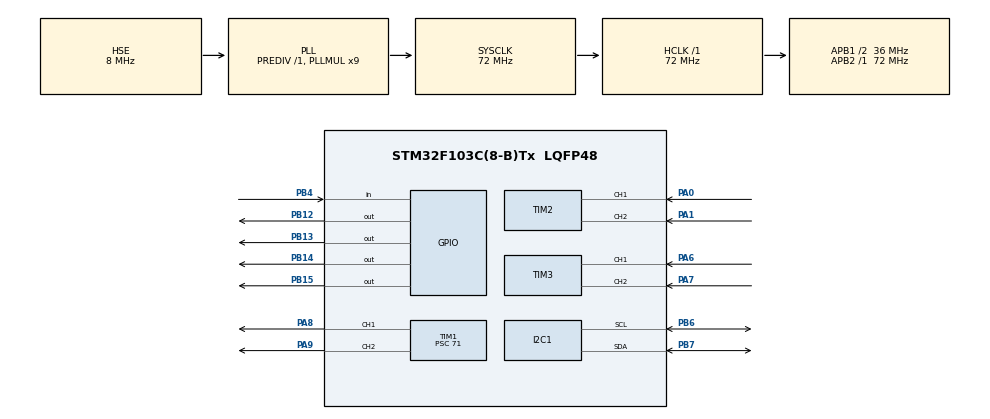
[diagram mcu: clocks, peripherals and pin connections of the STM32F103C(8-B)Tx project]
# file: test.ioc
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Mcu.Family=STM32F1
Mcu.Name=STM32F103C(8-B)Tx
Mcu.Package=LQFP48
NVIC.PriorityGroup=NVIC_PRIORITYGROUP_4
PA0-WKUP.GPIO_PuPd=GPIO_PULLUP
PA0-WKUP.Signal=S_TIM2_CH1_ETR
PA1.GPIO_PuPd=GPIO_PULLUP
PA1.Signal=S_TIM2_CH2
PA13.Mode=Serial_Wire
PA13.Signal=SYS_JTMS-SWDIO
PA14.Mode=Serial_Wire
PA14.Signal=SYS_JTCK-SWCLK
PA6.GPIO_PuPd=GPIO_PULLUP
PA6.Signal=S_TIM3_CH1
PA7.GPIO_PuPd=GPIO_PULLUP
PA7.Signal=S_TIM3_CH2
PA8.Signal=S_TIM1_CH1
PA9.Signal=S_TIM1_CH2
PB12.Signal=GPIO_Output
PB13.Signal=GPIO_Output
PB14.Signal=GPIO_Output
PB15.Signal=GPIO_Output
PB4.GPIO_PuPd=GPIO_PULLDOWN
PB4.Signal=GPIO_Input
PB6.Mode=I2C
PB6.Signal=I2C1_SCL
PB7.Mode=I2C
PB7.Signal=I2C1_SDA
PD0-OSC_IN.Mode=HSE-External-Oscillator
PD0-OSC_IN.Signal=RCC_OSC_IN
PD1-OSC_OUT.Mode=HSE-External-Oscillator
PD1-OSC_OUT.Signal=RCC_OSC_OUT
ProjectManager.HeapSize=0x200
ProjectManager.StackSize=0x400
ProjectManager.TargetToolchain=MDK-ARM V5.32
RCC.AHBFreq_Value=72000000
RCC.APB1CLKDivider=RCC_HCLK_DIV2
RCC.APB1Freq_Value=36000000
RCC.APB1TimFreq_Value=72000000
RCC.APB2Freq_Value=72000000
RCC.APB2TimFreq_Value=72000000
RCC.HCLKFreq_Value=72000000
RCC.PLLMUL=RCC_PLL_MUL9
RCC.PLLSourceVirtual=RCC_PLLSOURCE_HSE
RCC.SYSCLKFreq_VALUE=72000000
RCC.SYSCLKSource=RCC_SYSCLKSOURCE_PLLCLK
RCC.USBFreq_Value=72000000
SH.S_TIM1_CH1.0=TIM1_CH1,PWM Generation1 CH1
SH.S_TIM1_CH2.0=TIM1_CH2,PWM Generation2 CH2
SH.S_TIM2_CH1_ETR.0=TIM2_CH1,Encoder_Interface
SH.S_TIM2_CH2.0=TIM2_CH2,Encoder_Interface
SH.S_TIM3_CH1.0=TIM3_CH1,Encoder_Interface
SH.S_TIM3_CH2.0=TIM3_CH2,Encoder_Interface
TIM1.Channel-PWM\ Generation1\ CH1=TIM_CHANNEL_1
TIM1.Channel-PWM\ Generation2\ CH2=TIM_CHANNEL_2
TIM1.Period=9999
TIM1.Prescaler=71
TIM1.Pulse-PWM\ Generation1\ CH1=1999
TIM2.EncoderMode=TIM_ENCODERMODE_TI12
TIM3.EncoderMode=TIM_ENCODERMODE_TI12
VP_TIM1_VS_ClockSourceINT.Mode=Internal
board=custom

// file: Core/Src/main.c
/* USER CODE BEGIN Header */
/**
  ******************************************************************************
  * @file           : main.c
  * @brief          : Main program body
  ******************************************************************************
  * @attention
  *
  * Copyright (c) 2025 STMicroelectronics.
  * All rights reserved.
  *
  * This software is licensed under terms that can be found in the LICENSE file
  * in the root directory of this software component.
  * If no LICENSE file comes with this software, it is provided AS-IS.
  *
  ******************************************************************************
  */
/* USER CODE END Header */

#include "main.h"
#include "i2c.h"
#include "tim.h"
#include "gpio.h"

/* USER CODE BEGIN Includes */

#include "sensors.h"
#include <stdlib.h>
#include <stdbool.h>
#include <math.h>

/* USER CODE END Includes */

/* USER CODE BEGIN PTD */

// Cau truc PID
typedef struct {
    float Kp, Ki, Kd;
    float integral;
    float prev_error;
} PID_Controller;

/* USER CODE END PTD */

/* USER CODE BEGIN PD */

// THAM SO HIEU CHINH
#define MAX_SPEED               9999
#define BASE_SPEED              8999
#define BASE_SPEED_TURN         6999

#define WALL_THRESHOLD          120
#define WALL_THRESHOLD_FRONT    100
#define STRAIGHT_ERROR_DEADZONE 6

#define SENSOR_FRONT_OFFSET     0
#define SENSOR_LEFT_OFFSET      -9
#define SENSOR_RIGHT_OFFSET     0

#define ENCODER_TARGET_TURN_90      1800
#define ENCODER_CENTER_OFFSET       1100
#define ENCODER_MOVE                2000
#define ENCODER_REVERSE_OFFSET_180  900

#define KP_STRAIGHT 12.5f
#define KI_STRAIGHT 0.8f
#define KD_STRAIGHT 11.3f

#define PID_INTEGRAL_MAX 500.0f
#define PID_INTEGRAL_MIN -500.0f

/* USER CODE END PD */

/* USER CODE BEGIN PV */
static PID_Controller pid_straight;
/* USER CODE END PV */

void SystemClock_Config(void);
/* USER CODE BEGIN PFP */

// CAC HAM DIEU KHIEN ROBOT
void robot_init(void);
void stop_motors(void);
void turn_left_90(void);
void turn_right_90(void);
void turn_180(void);
void move_forward_pulses(int32_t pulses);
void move_backward_pulses(int32_t pulses);

/* USER CODE END PFP */

/* USER CODE BEGIN 0 */

// HAM DE DIEU KHIEN MOTOR VA DOC ENCODER
static void set_left_motor_speed(int16_t speed) {
    if (speed > MAX_SPEED) speed = MAX_SPEED;
    if (speed < -MAX_SPEED) speed = -MAX_SPEED;

    if (speed > 0) {
        HAL_GPIO_WritePin(GPIOB, GPIO_PIN_12, GPIO_PIN_SET);
        HAL_GPIO_WritePin(GPIOB, GPIO_PIN_13, GPIO_PIN_RESET);
        __HAL_TIM_SET_COMPARE(&htim1, TIM_CHANNEL_1, speed);
    } else if (speed < 0) {
        HAL_GPIO_WritePin(GPIOB, GPIO_PIN_12, GPIO_PIN_RESET);
        HAL_GPIO_WritePin(GPIOB, GPIO_PIN_13, GPIO_PIN_SET);
        __HAL_TIM_SET_COMPARE(&htim1, TIM_CHANNEL_1, -speed);
    } else {
        HAL_GPIO_WritePin(GPIOB, GPIO_PIN_12, GPIO_PIN_RESET);
        HAL_GPIO_WritePin(GPIOB, GPIO_PIN_13, GPIO_PIN_RESET);
        __HAL_TIM_SET_COMPARE(&htim1, TIM_CHANNEL_1, 0);
    }
}

static void set_right_motor_speed(int16_t speed) {
    if (speed > MAX_SPEED) speed = MAX_SPEED;
    if (speed < -MAX_SPEED) speed = -MAX_SPEED;

    if (speed > 0) {
        HAL_GPIO_WritePin(GPIOB, GPIO_PIN_14, GPIO_PIN_SET);
        HAL_GPIO_WritePin(GPIOB, GPIO_PIN_15, GPIO_PIN_RESET);
        __HAL_TIM_SET_COMPARE(&htim1, TIM_CHANNEL_2, speed);
    } else if (speed < 0) {
        HAL_GPIO_WritePin(GPIOB, GPIO_PIN_14, GPIO_PIN_RESET);
        HAL_GPIO_WritePin(GPIOB, GPIO_PIN_15, GPIO_PIN_SET);
        __HAL_TIM_SET_COMPARE(&htim1, TIM_CHANNEL_2, -speed);
    } else {
        HAL_GPIO_WritePin(GPIOB, GPIO_PIN_14, GPIO_PIN_RESET);
        HAL_GPIO_WritePin(GPIOB, GPIO_PIN_15, GPIO_PIN_RESET);
        __HAL_TIM_SET_COMPARE(&htim1, TIM_CHANNEL_2, 0);
    }
}

static void reset_encoders(void) {
    __HAL_TIM_SET_COUNTER(&htim2, 0);
    __HAL_TIM_SET_COUNTER(&htim3, 0);
}

static int16_t get_left_encoder_val(void) {
    return (int16_t)__HAL_TIM_GET_COUNTER(&htim2);
}

static int16_t get_right_encoder_val(void) {
    return (int16_t)__HAL_TIM_GET_COUNTER(&htim3);
}

// HAM TINH TOAN PID
static float pid_compute(PID_Controller* pid, float error) {
    pid->integral += error;
    if (pid->integral > PID_INTEGRAL_MAX) pid->integral = PID_INTEGRAL_MAX;
    else if (pid->integral < PID_INTEGRAL_MIN) pid->integral = PID_INTEGRAL_MIN;

    float derivative = error - pid->prev_error;
    pid->prev_error = error;
    return (pid->Kp * error) + (pid->Ki * pid->integral) + (pid->Kd * derivative);
}

static void pid_reset(PID_Controller* pid) {
    pid->integral = 0;
    pid->prev_error = 0;
}

// HAM CHUC NANG CHINH CUA ROBOT
void stop_motors(void) {
    HAL_GPIO_WritePin(GPIOB, GPIO_PIN_12, GPIO_PIN_SET);
    HAL_GPIO_WritePin(GPIOB, GPIO_PIN_13, GPIO_PIN_SET);
    HAL_GPIO_WritePin(GPIOB, GPIO_PIN_14, GPIO_PIN_SET);
    HAL_GPIO_WritePin(GPIOB, GPIO_PIN_15, GPIO_PIN_SET);
    __HAL_TIM_SET_COMPARE(&htim1, TIM_CHANNEL_1, 0);
    __HAL_TIM_SET_COMPARE(&htim1, TIM_CHANNEL_2, 0);
}

// KHOI TAO ROBOT
void robot_init(void) {
    sensors_init();
    HAL_TIM_PWM_Start(&htim1, TIM_CHANNEL_1);
    HAL_TIM_PWM_Start(&htim1, TIM_CHANNEL_2);
    HAL_TIM_Encoder_Start(&htim2, TIM_CHANNEL_ALL);
    HAL_TIM_Encoder_Start(&htim3, TIM_CHANNEL_ALL);

    pid_straight.Kp = KP_STRAIGHT;
    pid_straight.Ki = KI_STRAIGHT;
    pid_straight.Kd = KD_STRAIGHT;

    reset_encoders();
    pid_reset(&pid_straight);
    stop_motors();
}

void turn_right_90(void) {
    reset_encoders();
    while (abs(get_left_encoder_val()) < ENCODER_TARGET_TURN_90) {
        set_left_motor_speed(BASE_SPEED_TURN);
        set_right_motor_speed(-BASE_SPEED_TURN);
    }
    stop_motors();
}

void turn_left_90(void) {
    reset_encoders();
    while (abs(get_right_encoder_val()) < ENCODER_TARGET_TURN_90) {
        set_left_motor_speed(-BASE_SPEED_TURN);
        set_right_motor_speed(BASE_SPEED_TURN);
    }
    stop_motors();
}

void turn_180(void) {
    turn_right_90();
    HAL_Delay(100);
    move_backward_pulses(ENCODER_REVERSE_OFFSET_180);
    HAL_Delay(100);
    turn_right_90();
}

void move_forward_pulses(int32_t pulses) {
    reset_encoders();
    while ((abs(get_left_encoder_val()) + abs(get_right_encoder_val())) / 2 < pulses) {
        set_left_motor_speed(BASE_SPEED);
        set_right_motor_speed(BASE_SPEED);
    }
    stop_motors();
}

void move_backward_pulses(int32_t pulses) {
    reset_encoders();
    while ((abs(get_left_encoder_val()) + abs(get_right_encoder_val())) / 2 < pulses) {
        set_left_motor_speed(-BASE_SPEED);
        set_right_motor_speed(-BASE_SPEED);
    }
    stop_motors();
}

/* USER CODE END 0 */

int main(void)
{

  /* MCU Configuration--------------------------------------------------------*/

  /* Reset of all peripherals, Initializes the Flash interface and the Systick. */
  HAL_Init();

  /* Configure the system clock */
  SystemClock_Config();

  /* Initialize all configured peripherals */
  MX_GPIO_Init();
  MX_TIM1_Init();
  MX_TIM2_Init();
  MX_TIM3_Init();
  MX_I2C1_Init();
  /* USER CODE BEGIN 2 */

  // Khoi tao robot
  robot_init();
  HAL_Delay(1000);

  /* USER CODE END 2 */

  /* Infinite loop */
  while (1)
  {

    /* USER CODE BEGIN 3 */

    // ========= MAZE LOGIC =========
    pid_reset(&pid_straight);

    // Vong lap di thang va bam tuong
    while (1) {
        sensors_read_all();

        bool front_wall_detected = (get_front_distance() + SENSOR_FRONT_OFFSET < WALL_THRESHOLD_FRONT);
        bool left_opening_detected = (get_left_distance() + SENSOR_LEFT_OFFSET > WALL_THRESHOLD);
        bool right_opening_detected = (get_right_distance() + SENSOR_RIGHT_OFFSET > WALL_THRESHOLD);

        // Dieu kien dung vong lap di thang:
        if (front_wall_detected ||
            (!front_wall_detected && left_opening_detected && !right_opening_detected) ||
            (!front_wall_detected && !left_opening_detected && right_opening_detected)) {
            stop_motors();
            break; // Thoat khoi vong lap bam tuong de ra quyet dinh re
        }

        int16_t left_dist = get_left_distance() + SENSOR_LEFT_OFFSET;
        int16_t right_dist = get_right_distance() + SENSOR_RIGHT_OFFSET;
        float error = 0;

        if (left_dist < 500 && right_dist < 500) {
            error = left_dist - right_dist;
        }

        if (fabsf(error) <= STRAIGHT_ERROR_DEADZONE) error = 0;

        float correction = pid_compute(&pid_straight, error);

        set_left_motor_speed(BASE_SPEED - correction);
        set_right_motor_speed(BASE_SPEED + correction);
        HAL_Delay(2); // Thoi gian lap cua vong dieu khien
    }

    // THUAT TOAN UU TIEN RE PHAI

    // Doc cam bien sau khi dung lai
    HAL_Delay(100);
    sensors_read_all();

    bool hasFrontWall = (get_front_distance() + SENSOR_FRONT_OFFSET < WALL_THRESHOLD_FRONT);
    bool hasLeftWall  = (get_left_distance()  + SENSOR_LEFT_OFFSET  < WALL_THRESHOLD);
    bool hasRightWall = (get_right_distance() + SENSOR_RIGHT_OFFSET < WALL_THRESHOLD);

    HAL_Delay(100);

    // THU TU UU TIEN: PHAI → THANG → TRAI → QUAY 180°
    if (!hasRightWall) {
        // Khong co tuong ben phai → re phai
        move_forward_pulses(ENCODER_CENTER_OFFSET);
        turn_right_90();
        move_forward_pulses(ENCODER_MOVE);

    } else if (!hasFrontWall) {
        // Khong co tuong phia truoc → di thang
        move_forward_pulses(ENCODER_MOVE);

    } else if (!hasLeftWall) {
        // Khong co tuong ben trai → re trai
        move_forward_pulses(ENCODER_CENTER_OFFSET);
        turn_left_90();
        move_forward_pulses(ENCODER_MOVE);

    } else {
        // Bi chan ca 3 huong → quay 180 do (lui roi xoay)
        turn_180();
    }

  }
  /* USER CODE END 3 */
}

void SystemClock_Config(void)
{
  RCC_OscInitTypeDef RCC_OscInitStruct = {0};
  RCC_ClkInitTypeDef RCC_ClkInitStruct = {0};

  /** Initializes the RCC Oscillators according to the specified parameters
  * in the RCC_OscInitTypeDef structure.
  */
  RCC_OscInitStruct.OscillatorType = RCC_OSCILLATORTYPE_HSE;
  RCC_OscInitStruct.HSEState = RCC_HSE_ON;
  RCC_OscInitStruct.HSEPredivValue = RCC_HSE_PREDIV_DIV1;
  RCC_OscInitStruct.HSIState = RCC_HSI_ON;
  RCC_OscInitStruct.PLL.PLLState = RCC_PLL_ON;
  RCC_OscInitStruct.PLL.PLLSource = RCC_PLLSOURCE_HSE;
  RCC_OscInitStruct.PLL.PLLMUL = RCC_PLL_MUL9;
  if (HAL_RCC_OscConfig(&RCC_OscInitStruct) != HAL_OK)
  {
    Error_Handler();
  }

  /** Initializes the CPU, AHB and APB buses clocks
  */
  RCC_ClkInitStruct.ClockType = RCC_CLOCKTYPE_HCLK|RCC_CLOCKTYPE_SYSCLK
                              |RCC_CLOCKTYPE_PCLK1|RCC_CLOCKTYPE_PCLK2;
  RCC_ClkInitStruct.SYSCLKSource = RCC_SYSCLKSOURCE_PLLCLK;
  RCC_ClkInitStruct.AHBCLKDivider = RCC_SYSCLK_DIV1;
  RCC_ClkInitStruct.APB1CLKDivider = RCC_HCLK_DIV2;
  RCC_ClkInitStruct.APB2CLKDivider = RCC_HCLK_DIV1;

  if (HAL_RCC_ClockConfig(&RCC_ClkInitStruct, FLASH_LATENCY_2) != HAL_OK)
  {
    Error_Handler();
  }
}

void Error_Handler(void)
{
  __disable_irq();
  while (1)
  {
  }
}
